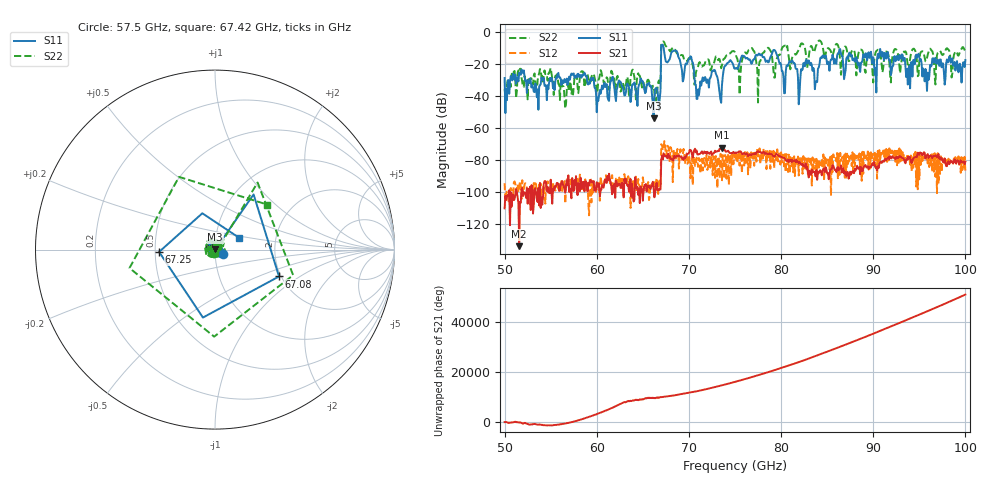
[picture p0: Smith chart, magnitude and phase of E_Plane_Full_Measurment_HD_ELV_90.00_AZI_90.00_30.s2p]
! 11/26/2026 3:30:32 PM
! C:\ANRITSUVNA\TEMP\TEMP.S2P
! CHANNEL.1
! TR.MEASUREMENT
! RAW.DATA
# HZ S RI R 50.0
! FREQ.HZ  S11RE  S11IM  S21RE  S21IM  S12RE  S12IM  S22RE  S22IM
!; PortSelection: Port_12
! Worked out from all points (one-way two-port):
!   601 points, 50 GHz to 100 GHz, reference 50 ohm
!   highest |S21| = -72.56 dB at 73.58 GHz (marker M1); lowest = -134.0 dB at 51.58 GHz (marker M2)
!   lowest |S11| = -54.1 dB at 66.17 GHz (marker M3), VSWR 1.00, Z = 50.1 + j0.143 ohm
!   |S11| at or under -10 dB: start of sweep to 67 GHz; 67.24 GHz to end of sweep
!   |S22| runs from -48.1 to -5.6 dB; largest |S21 - S12| = 0.00036
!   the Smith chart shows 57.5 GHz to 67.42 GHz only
!   S11 on the Smith chart (normalised r, x): 57.5 GHz: 1.09, -0.05; 67.08 GHz: 1.95, -0.69; 67.25 GHz: 0.52, -0.01; 67.42 GHz: 1.29, +0.18
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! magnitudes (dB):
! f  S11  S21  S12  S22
! 50 GHz  -29.0  -110.4  -94.7  -35.7
! 51.58 GHz  -25.8  -134.0  -98.0  -25.4
! 53.42 GHz  -34.9  -100.6  -95.7  -35.3
! 57.5 GHz  -26.2  -99.5  -98.2  -34.7
! 58.42 GHz  -27.1  -96.9  -98.4  -24.7
! 60.17 GHz  -43.3  -95.1  -98.7  -30.4
! 66.17 GHz  -54.1  -98.1  -95.0  -34.0
! 66.67 GHz  -41.5  -98.5  -101.4  -31.7
! 67.08 GHz  -8.3  -77.4  -71.1  -6.8
! 67.25 GHz  -10.1  -76.0  -72.8  -6.2
! 67.42 GHz  -16.6  -78.0  -70.9  -8.3
! 70.17 GHz  -15.4  -74.0  -91.6  -18.6
! 70.67 GHz  -33.0  -73.1  -83.9  -33.0
! 73.58 GHz  -33.6  -72.6  -93.4  -21.1
! 75 GHz  -23.3  -76.0  -80.6  -13.0
! 79.25 GHz  -11.5  -78.1  -85.4  -28.8
! 80.25 GHz  -28.0  -78.8  -77.0  -9.3
! 83.42 GHz  -24.6  -88.0  -78.6  -10.8
! 91.67 GHz  -16.8  -78.3  -80.4  -15.2
! 94.83 GHz  -14.9  -75.6  -98.5  -27.9
! 95.83 GHz  -37.0  -77.2  -77.9  -16.5
! 100 GHz  -17.8  -81.3  -87.6  -12.6
